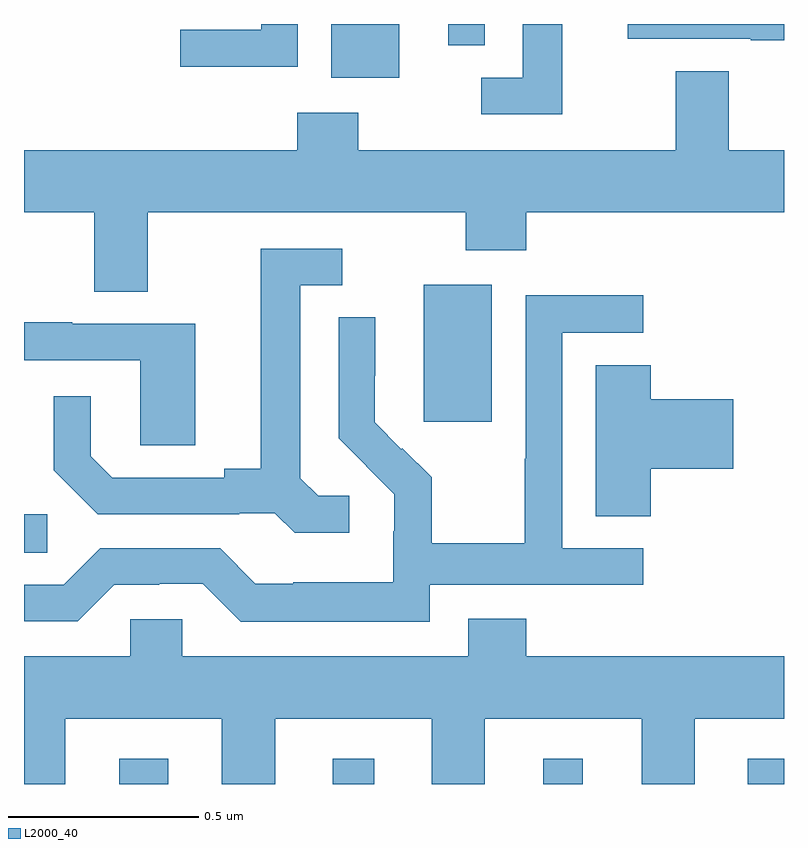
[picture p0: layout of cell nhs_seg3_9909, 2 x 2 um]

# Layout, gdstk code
import gdstk
lib = gdstk.Library(unit=1e-6, precision=1e-09)
def R(c, l, rs):  # rectangles x0, y0, x1, y1
    for r in rs: c.add(gdstk.rectangle(r[:2], r[2:], *l))
def P(c, l, *ps):  # polygons
    for p in ps: c.add(gdstk.Polygon(p, *l))
L2000_40 = (2000, 40)

nhs_seg3_9909 = lib.new_cell('nhs_seg3_9909')
R(nhs_seg3_9909, L2000_40, [(234.251,711.4,234.379,711.466), (234.812,711.4,234.922,711.466), (235.367,711.4,235.471,711.466), (235.904,711.4,236,711.466), (234,712.009,234.061,712.11), (235.052,712.353,235.231,712.714), (234.809,713.258,234.988,713.4), (235.116,713.344,235.212,713.4)])
P(nhs_seg3_9909, L2000_40, [(235.417,713.4),(235.313,713.4),(235.313,713.259),(235.203,713.259),(235.203,713.163),(235.417,713.163)],
  [(234.72,713.4),(234.624,713.4),(234.624,713.385),(234.411,713.385),(234.411,713.287),(234.72,713.287)],
  [(236,713.4),(235.589,713.4),(235.589,713.361),(235.913,713.361),(235.913,713.357),(236,713.357)],
  [(234.325,712.904),(235.162,712.904),(235.162,712.805),(235.322,712.805),(235.322,712.904),(236,712.904),(236,713.068),(235.855,713.068),(235.855,713.276),(235.715,713.276),(235.715,713.068),(234.879,713.068),(234.879,713.167),(234.719,713.167),(234.719,713.068),(234,713.068),(234,712.904),(234.185,712.904),(234.185,712.696),(234.325,712.696)],
  [(234.856,712.158),(234.774,712.158),(234.727,712.205),(234.727,712.713),(234.838,712.713),(234.838,712.809),(234.623,712.809),(234.623,712.229),(234.527,712.229),(234.527,712.206),(234.232,712.206),(234.175,712.263),(234.175,712.42),(234.078,712.42),(234.078,712.226),(234.194,712.11),(234.566,712.11),(234.566,712.113),(234.66,712.113),(234.712,712.061),(234.856,712.061)],
  [(235.068,711.924),(235.63,711.924),(235.63,712.02),(235.416,712.02),(235.416,712.587),(235.63,712.587),(235.63,712.686),(235.32,712.686),(235.32,712.256),(235.318,712.256),(235.318,712.033),(235.073,712.033),(235.073,712.207),(234.996,712.284),(234.993,712.281),(234.923,712.352),(234.923,712.474),(234.924,712.474),(234.924,712.628),(234.828,712.628),(234.828,712.31),(234.901,712.237),(234.9,712.236),(234.974,712.162),(234.974,712.065),(234.972,712.065),(234.972,711.931),(234.709,711.931),(234.709,711.927),(234.609,711.927),(234.516,712.02),(234.201,712.02),(234.105,711.924),(234,711.924),(234,711.828),(234.141,711.828),(234.237,711.924),(234.356,711.924),(234.356,711.927),(234.471,711.927),(234.571,711.827),(235.068,711.827)],
  [(234.451,712.611),(234.127,712.611),(234.127,712.615),(234,712.615),(234,712.515),(234.306,712.515),(234.306,712.291),(234.451,712.291)],
  [(235.649,712.229),(235.867,712.229),(235.867,712.412),(235.649,712.412),(235.649,712.502),(235.505,712.502),(235.505,712.105),(235.649,712.105)],
  [(234.109,711.572),(234.521,711.572),(234.521,711.4),(234.661,711.4),(234.661,711.572),(235.073,711.572),(235.073,711.4),(235.213,711.4),(235.213,711.572),(235.625,711.572),(235.625,711.4),(235.765,711.4),(235.765,711.572),(236,711.572),(236,711.736),(235.322,711.736),(235.322,711.835),(235.169,711.835),(235.169,711.736),(234.417,711.736),(234.417,711.834),(234.279,711.834),(234.279,711.736),(234,711.736),(234,711.4),(234.109,711.4)])

lib.write_gds('nhs_seg3_9909.gds')
